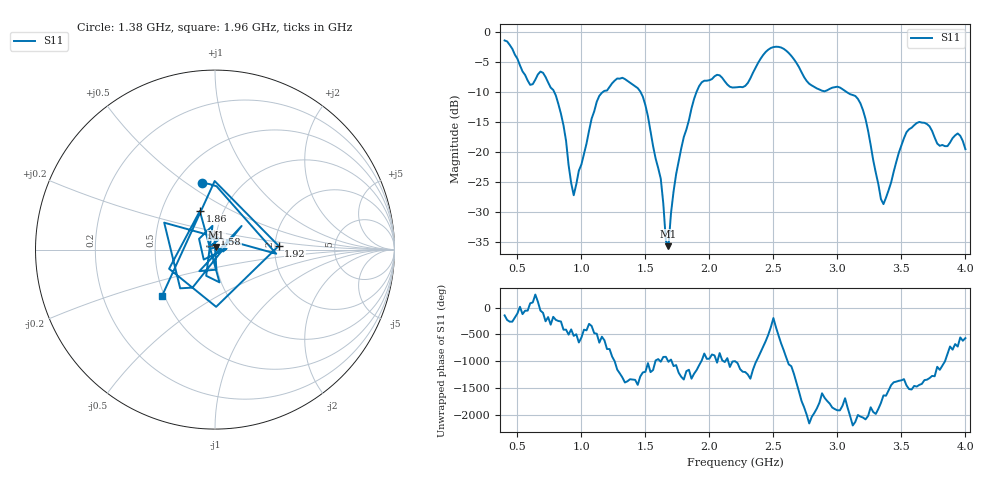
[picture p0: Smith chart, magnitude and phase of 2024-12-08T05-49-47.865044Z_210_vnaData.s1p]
!Created with skrf (http://scikit-rf.org).
# Hz S RI R 50.0
!freq ReS11 ImS11
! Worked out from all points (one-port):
!   181 points, 400 MHz to 4 GHz, reference 50 ohm
!   lowest |S11| = -35.8 dB at 1.68 GHz (marker M1), VSWR 1.03, Z = 50.6 + j1.52 ohm
!   |S11| at or under -10 dB: 788.1 MHz to 1.166 GHz (378.2 MHz wide, 38.7 % of centre); 1.463 GHz to 1.899 GHz (436.2 MHz wide, 26 % of centre); 3.074 GHz to end of sweep
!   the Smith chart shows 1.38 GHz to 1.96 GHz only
!   S11 on the Smith chart (normalised r, x): 1.38 GHz: 0.66, +0.58; 1.58 GHz: 0.98, +0.17; 1.86 GHz: 0.77, +0.35; 1.92 GHz: 2.10, +0.10; 1.96 GHz: 0.48, -0.30
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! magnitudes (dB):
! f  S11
! 400 MHz  -1.4
! 600 MHz  -8.8
! 700 MHz  -6.8
! 860 MHz  -15.6
! 940 MHz  -27.2
! 1.12 GHz  -11.6
! 1.3 GHz  -7.7
! 1.38 GHz  -8.4
! 1.48 GHz  -10.8
! 1.58 GHz  -21.1
! 1.62 GHz  -24.5
! 1.66 GHz  -34.9
! 1.68 GHz  -35.8
! 1.76 GHz  -21.5
! 1.86 GHz  -12.7
! 1.92 GHz  -9.0
! 1.96 GHz  -8.1
! 2.2 GHz  -9.2
! 2.48 GHz  -2.6
! 2.66 GHz  -4.5
! 2.8 GHz  -8.9
! 3.1 GHz  -10.3
! 3.2 GHz  -13.0
! 3.36 GHz  -28.7
! 3.56 GHz  -16.2
! 3.8 GHz  -19.0
! 3.94 GHz  -16.9
! 4 GHz  -19.5
